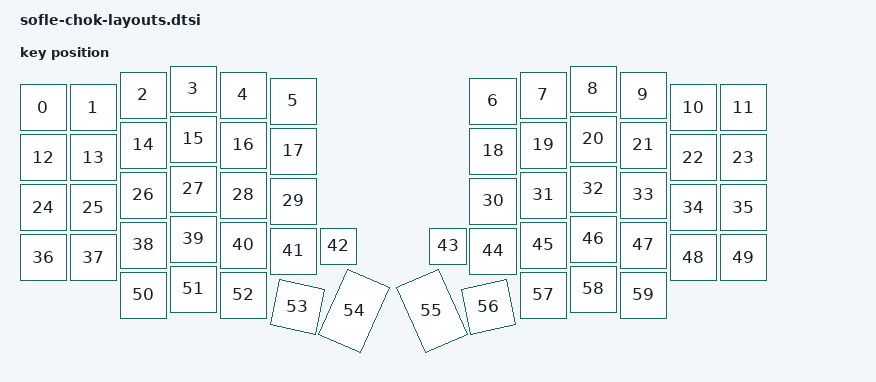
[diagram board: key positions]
#include <physical_layouts.dtsi>

/ {
    sofle-chok_layout: sofle-chok_physical_layout {
        compatible = "zmk,physical-layout";
        display-name = "Sofle";

        kscan = <&kscan0>;
        transform = <&default_transform>;
        keys  //                     w   h    x    y     rot    rx    ry
            = <&key_physical_attrs 100 100    0   37       0     0     0>
            , <&key_physical_attrs 100 100  100   37       0     0     0>
            , <&key_physical_attrs 100 100  200   12       0     0     0>
            , <&key_physical_attrs 100 100  300    0       0     0     0>
            , <&key_physical_attrs 100 100  400   12       0     0     0>
            , <&key_physical_attrs 100 100  500   24       0     0     0>
            , <&key_physical_attrs 100 100  900   24       0     0     0>
            , <&key_physical_attrs 100 100 1000   12       0     0     0>
            , <&key_physical_attrs 100 100 1100    0       0     0     0>
            , <&key_physical_attrs 100 100 1200   12       0     0     0>
            , <&key_physical_attrs 100 100 1300   37       0     0     0>
            , <&key_physical_attrs 100 100 1400   37       0     0     0>
            , <&key_physical_attrs 100 100    0  137       0     0     0>
            , <&key_physical_attrs 100 100  100  137       0     0     0>
            , <&key_physical_attrs 100 100  200  112       0     0     0>
            , <&key_physical_attrs 100 100  300  100       0     0     0>
            , <&key_physical_attrs 100 100  400  112       0     0     0>
            , <&key_physical_attrs 100 100  500  124       0     0     0>
            , <&key_physical_attrs 100 100  900  124       0     0     0>
            , <&key_physical_attrs 100 100 1000  112       0     0     0>
            , <&key_physical_attrs 100 100 1100  100       0     0     0>
            , <&key_physical_attrs 100 100 1200  112       0     0     0>
            , <&key_physical_attrs 100 100 1300  137       0     0     0>
            , <&key_physical_attrs 100 100 1400  137       0     0     0>
            , <&key_physical_attrs 100 100    0  237       0     0     0>
            , <&key_physical_attrs 100 100  100  237       0     0     0>
            , <&key_physical_attrs 100 100  200  212       0     0     0>
            , <&key_physical_attrs 100 100  300  200       0     0     0>
            , <&key_physical_attrs 100 100  400  212       0     0     0>
            , <&key_physical_attrs 100 100  500  224       0     0     0>
            , <&key_physical_attrs 100 100  900  224       0     0     0>
            , <&key_physical_attrs 100 100 1000  212       0     0     0>
            , <&key_physical_attrs 100 100 1100  200       0     0     0>
            , <&key_physical_attrs 100 100 1200  212       0     0     0>
            , <&key_physical_attrs 100 100 1300  237       0     0     0>
            , <&key_physical_attrs 100 100 1400  237       0     0     0>
            , <&key_physical_attrs 100 100    0  337       0     0     0>
            , <&key_physical_attrs 100 100  100  337       0     0     0>
            , <&key_physical_attrs 100 100  200  312       0     0     0>
            , <&key_physical_attrs 100 100  300  300       0     0     0>
            , <&key_physical_attrs 100 100  400  312       0     0     0>
            , <&key_physical_attrs 100 100  500  324       0     0     0>
            , <&key_physical_attrs 80  80   600  324       0     0     0>
            , <&key_physical_attrs 80  80   820  324       0     0     0>
            , <&key_physical_attrs 100 100  900  324       0     0     0>
            , <&key_physical_attrs 100 100 1000  312       0     0     0>
            , <&key_physical_attrs 100 100 1100  300       0     0     0>
            , <&key_physical_attrs 100 100 1200  312       0     0     0>
            , <&key_physical_attrs 100 100 1300  337       0     0     0>
            , <&key_physical_attrs 100 100 1400  337       0     0     0>
            , <&key_physical_attrs 100 100  200  412       0     0     0>
            , <&key_physical_attrs 100 100  300  400       0     0     0>
            , <&key_physical_attrs 100 100  400  412       0     0     0>
            , <&key_physical_attrs 100 100  500  424    1200   500   524>
            , <&key_physical_attrs 100 150  600  393    2400   600   534>
            , <&key_physical_attrs 100 150  800  393  (-2400)  900   534>
            , <&key_physical_attrs 100 100  900  424  (-1200) 1000   524>
            , <&key_physical_attrs 100 100 1000  412       0     0     0>
            , <&key_physical_attrs 100 100 1100  400       0     0     0>
            , <&key_physical_attrs 100 100 1200  412       0     0     0>
        ;
    };
};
